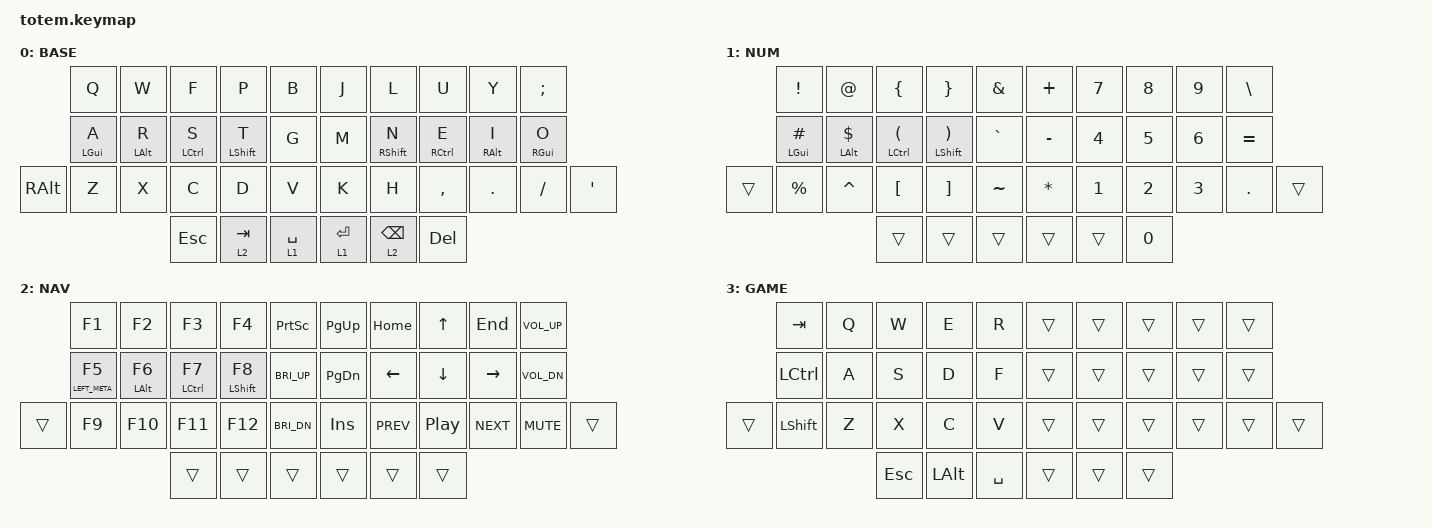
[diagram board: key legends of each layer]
//
//                                                        ▀▀▀▀▀     ▀▀▀▀▀          ▀▀█▀▀
//                                                        ▄▀▀▀▄  ▄  ▄▀▀▀▄  ▄  ▄▀▀▀▄  █  ▄▀▀▀▄
//                                                        █   █  █  █   █  █  █   █  █  █   █
//                                                         ▀▀▀   █   ▀▀▀   █   ▀▀▀   ▀   ▀▀▀
//                                                               █      ▄▄▄█▄▄▄    █   █
//                                                               ▀      █  █  █     █▄█
//                                                             ▀▀▀▀▀    █  █  █      ▀
//                                                                      ▀  ▀  ▀
//
// ▄▄▄▄▄▄▄▄▄▄▄▄▄▄▄▄▄▄▄▄▄▄▄▄▄▄▄▄▄▄▄▄▄▄▄▄▄▄▄▄▄▄▄▄▄▄▄▄▄▄▄▄▄▄▄▄▄▄▄▄▄▄▄▄▄▄▄▄▄▄▄▄▄▄▄▄▄▄▄▄▄▄▄▄▄▄▄▄▄▄▄▄▄▄▄▄▄▄▄▄▄▄▄▄▄▄▄▄▄▄▄▄▄▄▄▄▄▄▄▄▄▄▄▄▄▄▄▄▄▄▄▄▄▄▄▄▄▄▄▄▄▄▄▄▄▄▄▄▄


#include <behaviors.dtsi>
#include <dt-bindings/zmk/keys.h>
#include <dt-bindings/zmk/bt.h>
#include <dt-bindings/zmk/outputs.h>

#define BASE 0
#define NUM  1
#define NAV  2
#define GAME 3

/ {

    combos {
        compatible = "zmk,combos";
        // Hold the two outermost keys (leftmost + rightmost columns) to toggle the
        // gaming layer on; hold the same combo again to toggle it back off.
        combo_game_layer {
            timeout-ms = <250>;
            key-positions = <20 31>;
            bindings = <&tog GAME>;
        };
    };

    behaviors {
      // Home-row mods. require-prior-idle-ms is the knob that stops
      // fast-rolling typos from firing modifiers.

      hm: homerow_mods {
          compatible = "zmk,behavior-hold-tap";
          #binding-cells = <2>;
          flavor = "balanced";
          tapping-term-ms = <200>;
          quick-tap-ms = <175>;
          require-prior-idle-ms = <125>;
          bindings = <&kp>, <&kp>;
      };

      hlt: hold_layer_tap  {
            compatible = "zmk,behavior-hold-tap";
            #binding-cells = <2>;
            flavor = "tap-preferred";
            tapping-term-ms = <200>;
            quick-tap-ms = <175>;
            bindings = <&mo>, <&kp>;
      };
    };

    keymap {
        compatible = "zmk,keymap";
// ▄▄▄▄▄▄▄▄▄▄▄▄▄▄▄▄▄▄▄▄▄▄▄▄▄▄▄▄▄▄▄▄▄▄▄▄▄▄▄▄▄▄▄▄▄▄▄▄▄▄▄▄▄▄▄▄▄▄▄▄▄▄▄▄▄▄▄▄▄▄▄▄▄▄▄▄▄▄▄▄▄▄▄▄▄▄▄▄▄▄▄▄▄▄▄▄▄▄▄▄▄▄▄▄▄▄▄▄▄▄▄▄▄▄▄▄▄▄▄▄▄▄▄▄▄▄▄▄▄▄▄▄▄▄▄▄▄▄▄▄▄▄▄▄▄▄▄▄▄

                base_layer {
// ┏━━━━━━━━━━━━━━━━━━━━━━━━━━━━━━━━━━━━━━━┓
                label= "BASE"              ;
// ┗━━━━━━━━━━━━━━━━━━━━━━━━━━━━━━━━━━━━━━━┛
//             ┏━━━━━━━━━━━┳━━━━━━━━━━━┳━━━━━━━━━━━┳━━━━━━━━━━━┳━━━━━━━━━━━┓   ┏━━━━━━━━━━━┳━━━━━━━━━━━┳━━━━━━━━━━━┳━━━━━━━━━━━┳━━━━━━━━━━━┓
//             ┃     Q     ┃     W     ┃     F     ┃     P     ┃     B     ┃   ┃     J     ┃     L     ┃     U     ┃     Y     ┃     ;     ┃
//             ┣━━━━━━━━━━━╋━━━━━━━━━━━╋━━━━━━━━━━━╋━━━━━━━━━━━╋━━━━━━━━━━━┫   ┣━━━━━━━━━━━╋━━━━━━━━━━━╋━━━━━━━━━━━╋━━━━━━━━━━━╋━━━━━━━━━━━┫
//             ┃     A     ┃     R     ┃     S     ┃     T     ┃     D     ┃   ┃     M     ┃     N     ┃     E     ┃     I     ┃     O     ┃
// ┏━━━━━━━━━━━╋━━━━━━━━━━━╋━━━━━━━━━━━╋━━━━━━━━━━━╋━━━━━━━━━━━╋━━━━━━━━━━━┫   ┣━━━━━━━━━━━╋━━━━━━━━━━━╋━━━━━━━━━━━╋━━━━━━━━━━━╋━━━━━━━━━━━╋━━━━━━━━━━━┓
// ┃   SHIFT   ┃     Z     ┃     X     ┃     C     ┃     V     ┃     B     ┃   ┃     K     ┃     H     ┃     ,     ┃     .     ┃     /     ┃     '     ┃
// ┗━━━━━━━━━━━┻━━━━━━━━━━━┻━━━━━━━━━━━╋━━━━━━━━━━━╋━━━━━━━━━━━╋━━━━━━━━━━━┫   ┣━━━━━━━━━━━╋━━━━━━━━━━━╋━━━━━━━━━━━╋━━━━━━━━━━━┻━━━━━━━━━━━┻━━━━━━━━━━━┛
//                                     ┃    DEL    ┃    TAB    ┃    SPC    ┃   ┃   ENTER   ┃           ┃   BSPC    ┃
//                                     ┗━━━━━━━━━━━┻━━━━━━━━━━━┻━━━━━━━━━━━┛   ┗━━━━━━━━━━━┻━━━━━━━━━━━┻━━━━━━━━━━━┛
 bindings = <
// ╷           ╷           ╷           ╷           ╷           ╷           ╷   ╷           ╷           ╷           ╷           ╷           ╷           ╷

                &kp Q       &kp W       &kp F        &kp P       &kp B           &kp J      &kp L        &kp U       &kp Y      &kp SEMI
                &hm LGUI A  &hm LALT R  &hm LCTRL S  &hm LSHFT T &kp G           &kp M      &hm RSHFT N  &hm RCTRL E &hm RALT I &hm RGUI O
    &kp RALT    &kp Z       &kp X       &kp C        &kp D       &kp V           &kp K      &kp H        &kp COMMA   &kp DOT    &kp FSLH    &kp SQT
                                        &kp ESC      &lt 2 TAB   &hlt 1 SPACE    &lt 1 RET  &hlt 2 BSPC  &kp DEL
                        >;
                };

// ▄▄▄▄▄▄▄▄▄▄▄▄▄▄▄▄▄▄▄▄▄▄▄▄▄▄▄▄▄▄▄▄▄▄▄▄▄▄▄▄▄▄▄▄▄▄▄▄▄▄▄▄▄▄▄▄▄▄▄▄▄▄▄▄▄▄▄▄▄▄▄▄▄▄▄▄▄▄▄▄▄▄▄▄▄▄▄▄▄▄▄▄▄▄▄▄▄▄▄▄▄▄▄▄▄▄▄▄▄▄▄▄▄▄▄▄▄▄▄▄▄▄▄▄▄▄▄▄▄▄▄▄▄▄▄▄▄▄▄▄▄▄▄▄▄▄▄▄▄


                num_layer {
// ┏━━━━━━━━━━━━━━━━━━━━━━━━━━━━━━━━━━━━━━━┓
                 label= "NUM"              ;
// ┗━━━━━━━━━━━━━━━━━━━━━━━━━━━━━━━━━━━━━━━┛
//             ┏━━━━━━━━━━━┳━━━━━━━━━━━┳━━━━━━━━━━━┳━━━━━━━━━━━┳━━━━━━━━━━━┓   ┏━━━━━━━━━━━┳━━━━━━━━━━━┳━━━━━━━━━━━┳━━━━━━━━━━━┳━━━━━━━━━━━┓
//             ┃           ┃           ┃     UP    ┃           ┃     {     ┃   ┃     }     ┃     7     ┃     8     ┃     9     ┃     +     ┃
//             ┣━━━━━━━━━━━╋━━━━━━━━━━━╋━━━━━━━━━━━╋━━━━━━━━━━━╋━━━━━━━━━━━┫   ┣━━━━━━━━━━━╋━━━━━━━━━━━╋━━━━━━━━━━━╋━━━━━━━━━━━╋━━━━━━━━━━━┫
//             ┃   SHIFT   ┃   LEFT    ┃    DOWN   ┃   RIGHT   ┃     [     ┃   ┃     ]     ┃     4     ┃     5     ┃     6     ┃     -     ┃
// ┏━━━━━━━━━━━╋━━━━━━━━━━━╋━━━━━━━━━━━╋━━━━━━━━━━━╋━━━━━━━━━━━╋━━━━━━━━━━━┫   ┣━━━━━━━━━━━╋━━━━━━━━━━━╋━━━━━━━━━━━╋━━━━━━━━━━━╋━━━━━━━━━━━╋━━━━━━━━━━━┓
// ┃           ┃           ┃   P UP    ┃  C LOCK   ┃  P DOWN   ┃     (     ┃   ┃     )     ┃     1     ┃     2     ┃     3     ┃     *     ┃           ┃
// ┗━━━━━━━━━━━┻━━━━━━━━━━━┻━━━━━━━━━━━╋━━━━━━━━━━━╋━━━━━━━━━━━╋━━━━━━━━━━━┫   ┣━━━━━━━━━━━╋━━━━━━━━━━━╋━━━━━━━━━━━╋━━━━━━━━━━━┻━━━━━━━━━━━┻━━━━━━━━━━━┛
//                                     ┃           ┃    TAB    ┃    SPC    ┃   ┃    DEL    ┃     0     ┃           ┃
//                                     ┗━━━━━━━━━━━┻━━━━━━━━━━━┻━━━━━━━━━━━┛   ┗━━━━━━━━━━━┻━━━━━━━━━━━┻━━━━━━━━━━━┛
 bindings = <
// ╷           ╷           ╷           ╷           ╷           ╷           ╷   ╷           ╷           ╷           ╷           ╷           ╷           ╷

                &kp EXCL    &kp AT      &kp LBRC    &kp RBRC    &kp AMPS        &kp PLUS    &kp N7      &kp N8      &kp N9      &kp BSLH
     &hm LGUI HASH &hm LALT DLLR &hm LCTRL LPAR &hm LSHIFT RPAR &kp GRAVE       &kp MINUS   &kp N4      &kp N5      &kp N6      &kp EQUAL
    &trans      &kp PERCENT &kp CARET   &kp LBKT    &kp RBKT    &kp TILDE       &kp ASTRK   &kp N1      &kp N2      &kp N3      &kp DOT     &trans
                                        &trans      &trans      &trans          &trans      &trans      &kp N0
                        >;
                };

// ▄▄▄▄▄▄▄▄▄▄▄▄▄▄▄▄▄▄▄▄▄▄▄▄▄▄▄▄▄▄▄▄▄▄▄▄▄▄▄▄▄▄▄▄▄▄▄▄▄▄▄▄▄▄▄▄▄▄▄▄▄▄▄▄▄▄▄▄▄▄▄▄▄▄▄▄▄▄▄▄▄▄▄▄▄▄▄▄▄▄▄▄▄▄▄▄▄▄▄▄▄▄▄▄▄▄▄▄▄▄▄▄▄▄▄▄▄▄▄▄▄▄▄▄▄▄▄▄▄▄▄▄▄▄▄▄▄▄▄▄▄▄▄▄▄▄▄▄▄


                nav_layer {
// ┏━━━━━━━━━━━━━━━━━━━━━━━━━━━━━━━━━━━━━━━┓
                label= "NAV"               ;
// ┗━━━━━━━━━━━━━━━━━━━━━━━━━━━━━━━━━━━━━━━┛
//             ┏━━━━━━━━━━━┳━━━━━━━━━━━┳━━━━━━━━━━━┳━━━━━━━━━━━┳━━━━━━━━━━━┓   ┏━━━━━━━━━━━┳━━━━━━━━━━━┳━━━━━━━━━━━┳━━━━━━━━━━━┳━━━━━━━━━━━┓
//             ┃     !     ┃     @     ┃     #     ┃     $     ┃     %     ┃   ┃     ˆ     ┃     &     ┃     Ü     ┃     '     ┃     "     ┃
//             ┣━━━━━━━━━━━╋━━━━━━━━━━━╋━━━━━━━━━━━╋━━━━━━━━━━━╋━━━━━━━━━━━┫   ┣━━━━━━━━━━━╋━━━━━━━━━━━╋━━━━━━━━━━━╋━━━━━━━━━━━╋━━━━━━━━━━━┫
//             ┃     Ä     ┃           ┃    SZ     ┃           ┃           ┃   ┃   MUTE    ┃   YEN     ┃   EURO    ┃  POUND    ┃     Ö     ┃
// ┏━━━━━━━━━━━╋━━━━━━━━━━━╋━━━━━━━━━━━╋━━━━━━━━━━━╋━━━━━━━━━━━╋━━━━━━━━━━━┫   ┣━━━━━━━━━━━╋━━━━━━━━━━━╋━━━━━━━━━━━╋━━━━━━━━━━━╋━━━━━━━━━━━╋━━━━━━━━━━━┓
// ┃           ┃  EMAIL1   ┃  EMAIL2   ┃           ┃           ┃           ┃   ┃   VOL-    ┃   VOL+    ┃   LAST    ┃   NEXT    ┃     \     ┃           ┃
// ┗━━━━━━━━━━━┻━━━━━━━━━━━┻━━━━━━━━━━━╋━━━━━━━━━━━╋━━━━━━━━━━━╋━━━━━━━━━━━┫   ┣━━━━━━━━━━━╋━━━━━━━━━━━╋━━━━━━━━━━━╋━━━━━━━━━━━┻━━━━━━━━━━━┻━━━━━━━━━━━┛
//                                     ┃           ┃    GIF    ┃    ADJ    ┃   ┃           ┃           ┃           ┃
//                                     ┗━━━━━━━━━━━┻━━━━━━━━━━━┻━━━━━━━━━━━┛   ┗━━━━━━━━━━━┻━━━━━━━━━━━┻━━━━━━━━━━━┛
 bindings = <
// ╷           ╷           ╷           ╷           ╷           ╷           ╷   ╷           ╷           ╷           ╷           ╷           ╷           ╷

                &kp F1      &kp F2      &kp F3      &kp F4      &kp PSCRN       &kp PG_UP   &kp HOME    &kp UP      &kp END     &kp C_VOL_UP
&hm LEFT_META F5  &hm LEFT_ALT F6  &hm LCTRL F7  &hm LEFT_SHIFT F8 &kp C_BRI_UP &kp PG_DN   &kp LEFT    &kp DOWN    &kp RIGHT   &kp C_VOL_DN
    &trans      &kp F9      &kp F10     &kp F11     &kp F12     &kp C_BRI_DN    &kp INS     &kp C_PREV  &kp C_PP    &kp C_NEXT  &kp C_MUTE  &trans
                                        &trans      &trans      &trans          &trans      &trans      &trans
                        >;
                };

// ▄▄▄▄▄▄▄▄▄▄▄▄▄▄▄▄▄▄▄▄▄▄▄▄▄▄▄▄▄▄▄▄▄▄▄▄▄▄▄▄▄▄▄▄▄▄▄▄▄▄▄▄▄▄▄▄▄▄▄▄▄▄▄▄▄▄▄▄▄▄▄▄▄▄▄▄▄▄▄▄▄▄▄▄▄▄▄▄▄▄▄▄▄▄▄▄▄▄▄▄▄▄▄▄▄▄▄▄▄▄▄▄▄▄▄▄▄▄▄▄▄▄▄▄▄▄▄▄▄▄▄▄▄▄▄▄▄▄▄▄▄▄▄▄▄▄▄▄▄


                game_layer {
// ┏━━━━━━━━━━━━━━━━━━━━━━━━━━━━━━━━━━━━━━━┓
                label= "GAME"              ;
// ┗━━━━━━━━━━━━━━━━━━━━━━━━━━━━━━━━━━━━━━━┛
// WASD is shifted one column right of standard QWERTY so it's centered on the
// middle finger (W/S = middle finger up/down, A/D = ring/index either side)
// instead of the usual ring-finger-heavy offset. All modifiers are plain
// dedicated keys (no home-row hold-taps) so they never mis-fire during play.
// Z X C V sit together on the bottom row (crouch/prone/lean/building keys in
// most shooters use this exact cluster: PUBG crouch=C/prone=X, Fortnite
// building=Z X C V). The right hand is fully transparent -- every key there
// keeps typing normal Colemak-DH, so it still works for game chat etc.
// This layer is toggled on/off by the combo above (hold the two outermost
// keys together to flip it either way), so it stays active hands-free -- no
// key needs to be held to remain in GAME. That frees up the outermost keys
// themselves, so they're left &trans and simply fall through to their base
// bindings (RALT / apostrophe) below.
//             ┏━━━━━━━━━━━┳━━━━━━━━━━━┳━━━━━━━━━━━┳━━━━━━━━━━━┳━━━━━━━━━━━┓   ┏━━━━━━━━━━━┳━━━━━━━━━━━┳━━━━━━━━━━━┳━━━━━━━━━━━┳━━━━━━━━━━━┓
//             ┃    TAB    ┃     Q     ┃     W     ┃     E     ┃     R     ┃   ┃           ┃           ┃           ┃           ┃           ┃
//             ┣━━━━━━━━━━━╋━━━━━━━━━━━╋━━━━━━━━━━━╋━━━━━━━━━━━╋━━━━━━━━━━━┫   ┣━━━━━━━━━━━╋━━━━━━━━━━━╋━━━━━━━━━━━╋━━━━━━━━━━━╋━━━━━━━━━━━┫
//             ┃   CTRL    ┃     A     ┃     S     ┃     D     ┃     F     ┃   ┃           ┃           ┃           ┃           ┃           ┃
// ┏━━━━━━━━━━━╋━━━━━━━━━━━╋━━━━━━━━━━━╋━━━━━━━━━━━╋━━━━━━━━━━━╋━━━━━━━━━━━┫   ┣━━━━━━━━━━━╋━━━━━━━━━━━╋━━━━━━━━━━━╋━━━━━━━━━━━╋━━━━━━━━━━━╋━━━━━━━━━━━┓
// ┃  (base)   ┃   SHIFT   ┃     Z     ┃     X     ┃     C     ┃     V     ┃   ┃  (base)   ┃  (base)   ┃  (base)   ┃  (base)   ┃  (base)   ┃  (base)   ┃
// ┗━━━━━━━━━━━┻━━━━━━━━━━━┻━━━━━━━━━━━╋━━━━━━━━━━━╋━━━━━━━━━━━╋━━━━━━━━━━━┫   ┣━━━━━━━━━━━╋━━━━━━━━━━━╋━━━━━━━━━━━┻━━━━━━━━━━━┻━━━━━━━━━━━┛
//                                     ┃    ESC    ┃    ALT    ┃    SPC    ┃   ┃  (base)   ┃  (base)   ┃  (base)   ┃
//                                     ┗━━━━━━━━━━━┻━━━━━━━━━━━┻━━━━━━━━━━━┛   ┗━━━━━━━━━━━┻━━━━━━━━━━━┻━━━━━━━━━━━┛
 bindings = <
// ╷           ╷           ╷           ╷           ╷           ╷           ╷   ╷           ╷           ╷           ╷           ╷           ╷           ╷

                &kp TAB     &kp Q       &kp W       &kp E       &kp R           &trans      &trans      &trans      &trans      &trans
                &kp LCTRL   &kp A       &kp S       &kp D       &kp F           &trans      &trans      &trans      &trans      &trans
    &trans      &kp LSHFT   &kp Z       &kp X       &kp C       &kp V           &trans      &trans      &trans      &trans      &trans      &trans
                                        &kp ESC     &kp LALT    &kp SPACE       &trans      &trans      &trans
                        >;
                };
       };
};
